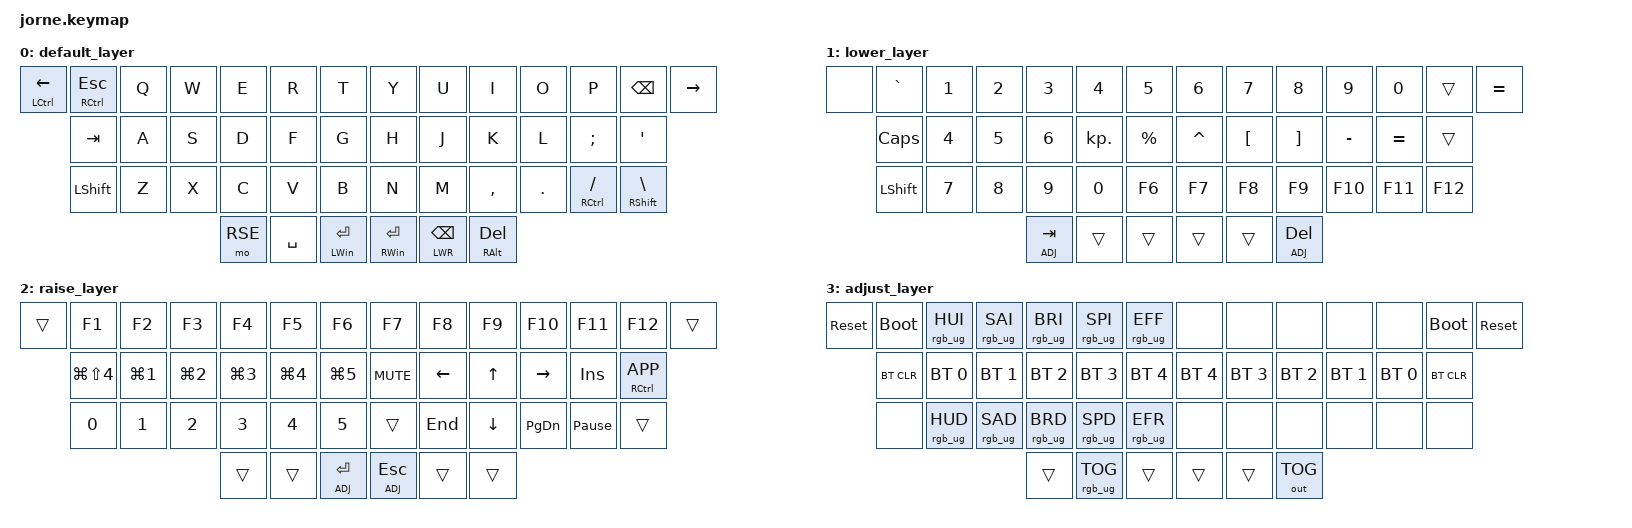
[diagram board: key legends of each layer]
/*
 * Copyright (c) 2020 The ZMK Contributors
 *
 * SPDX-License-Identifier: MIT
 */
#include <dt-bindings/led/led.h>
#include <behaviors.dtsi>
#include <dt-bindings/zmk/keys.h>
#include <dt-bindings/zmk/bt.h>
#include <dt-bindings/zmk/outputs.h>
#include <dt-bindings/zmk/rgb.h>


#define DEF 0
#define LWR 1
#define RSE 2
#define ADJ 3
&pinctrl {
        spi3_default: spi3_default {
                group1 {
                        psels = <NRF_PSEL(SPIM_MOSI, 1, 11)>;
                        };
                };

        spi3_sleep: spi3_sleep {
                group1 {
                        psels = <NRF_PSEL(SPIM_MOSI, 1, 11)>;
                        low-power-enable;
                };
        };
};

&spi3 {
  compatible = "nordic,nrf-spim";
  status = "okay";


  pinctrl-0 = <&spi3_default>;
  pinctrl-1 = <&spi3_sleep>;
  pinctrl-names = "default", "sleep";
  led_strip: ws2812@0 {
    compatible = "worldsemi,ws2812-spi";
    label = "WS2812";

    /* SPI */
    reg = <0>; /* ignored, but necessary for SPI bindings */
    spi-max-frequency = <4000000>;

    /* WS2812 */
    chain-length = <6>; /* number of LEDs */
    spi-one-frame = <0x70>;
    spi-zero-frame = <0x40>;
    color-mapping = <LED_COLOR_ID_GREEN
                          LED_COLOR_ID_RED
                          LED_COLOR_ID_BLUE>;
  };
};

/ {
    combos {
        compatible = "zmk,combos";

        combo_left {
            timeout-ms = <40>;
            key-positions = <16 17>;
            bindings = <&kp LEFT>;
        };

        right {
            bindings = <&kp RIGHT_ARROW>;
            key-positions = <17 18>;
            timeout-ms = <40>;
        };

        upup {
            bindings = <&kp UP_ARROW>;
            key-positions = <17 4>;
            timeout-ms = <40>;
        };

        downd {
            bindings = <&kp DOWN_ARROW>;
            key-positions = <17 29>;
            timeout-ms = <40>;
        };

        deldel {
            bindings = <&kp BACKSPACE>;
            key-positions = <15 14>;
            timeout-ms = <40>;
        };
    };
};

/ {
    chosen { zmk,underglow = &led_strip; };

    keymap {
        compatible = "zmk,keymap";

        default_layer {
            // -----------------------------------------------------------------------------------------
            // |  GUI |   ~  |  Q  |  W  |  E  |  R  |  T  |   |  Y  |  U   |  I  |  O  |  P  |  [   | GUI/] |
            //        | CTRL |  A  |  S  |  D  |  F  |  G  |   |  H  |  J   |  K  |  L  |  ;  |CTRL/'|
            //        | LALT |  Z  |  X  |  C  |  V  |  B  |   |  N  |  M   |  ,  |  .  |  /  | RALT |
            //                           | RSE | SPC | LWR |   | LWR | BKSP | RSE |

            bindings = <
&mt LCTRL LEFT  &mt RCTRL ESC  &kp Q  &kp W  &kp E    &kp R      &kp T         &kp Y         &kp U         &kp I         &kp O    &kp P           &kp BSPC        &kp RIGHT
                &kp TAB        &kp A  &kp S  &kp D    &kp F      &kp G         &kp H         &kp J         &kp K         &kp L    &kp SEMI        &kp SQT
                &kp LSHFT      &kp Z  &kp X  &kp C    &kp V      &kp B         &kp N         &kp M         &kp COMMA     &kp DOT  &mt RCTRL FSLH  &mt RSHFT BSLH
                                             &mo RSE  &kp SPACE  &mt LWIN RET  &mt RWIN RET  &lt LWR BSPC  &mt RALT DEL
            >;
        };

        lower_layer {
            // -----------------------------------------------------------------------------------------
            // |     |  ~  |  1  |  2  |  3  |  4  |  5  |   |  6  |  7  |  8  |  9  |  0  |  -_ |  =+ |
            //       | -_  |  4  |  5  |  6  |  .  |     |   |  ^  |  &  |  *  |  (  |  )  |  =+ |
            //       |  F1 |  7  |  8  |  9  |  0  |  F6 |   |  F7 |  F8 |  F9 | F10 | F11 | F12 |
            //                         | GUI |     | SPC |   | ENT |     | ALT |

            bindings = <
&none  &kp GRAVE   &kp N1  &kp N2  &kp N3       &kp N4      &kp N5     &kp N6     &kp N7    &kp N8       &kp N9     &kp N0     &trans   &kp EQUAL
       &kp CAPS    &kp N4  &kp N5  &kp N6       &kp KP_DOT  &kp PRCNT  &kp CARET  &kp LBKT  &kp RBKT     &kp MINUS  &kp EQUAL  &trans
       &kp LSHIFT  &kp N7  &kp N8  &kp N9       &kp N0      &kp F6     &kp F7     &kp F8    &kp F9       &kp F10    &kp F11    &kp F12
                                   &lt ADJ TAB  &trans      &trans     &trans     &trans    &lt ADJ DEL
            >;
        };

        raise_layer {
            // -----------------------------------------------------------------------------------------
            // |     |  F1  |  F2 |  F3 |  F4 |  F5 |  F6 |   |  F7 |  F8 |  F9 | F10 | F11 | F12 |     |
            //       | CTRL |  *  |  4  |  5  |  6  |  +  |   | MUT | LEFT|  UP | RGHT| INS | APP |
            //       |      |  0  |  1  |  2  |  3  |  .  |   | VOLD| END | DOWN| PGDN| PAUS|     |
            //                          |     |     | ADJ |   | ADJ |     |     |

            bindings = <
&trans  &kp F1          &kp F2      &kp F3      &kp F4      &kp F5      &kp F6       &kp F7       &kp F8    &kp F9    &kp F10    &kp F11          &kp F12          &trans
        &kp LG(LS(N4))  &kp LG(N1)  &kp LG(N2)  &kp LG(N3)  &kp LG(N4)  &kp LG(N5)   &kp C_MUTE   &kp LEFT  &kp UP    &kp RIGHT  &kp INS          &mt RCTRL K_APP
        &kp NUMBER_0    &kp N1      &kp N2      &kp N3      &kp N4      &kp N5       &trans       &kp END   &kp DOWN  &kp PG_DN  &kp PAUSE_BREAK  &trans
                                                &trans      &trans      &lt ADJ RET  &lt ADJ ESC  &trans    &trans
            >;
        };

        adjust_layer {
            // -----------------------------------------------------------------------------------------
            // | RST | BLDR | HI  | SI  | BI  | PI  | EF  |   |     |     |     |     |     | BLDR | RST |
            //       | BTCLR| BT0 | BT1 | BT2 | BT3 | BT4 |   | BT4 | BT3 | BT2 | BT1 | BT0 | BTCLR|
            //       |      | HD  | SD  | BD  | PD  | ER  |   |     |     |     |     |     |      |
            //                          |     | RGB |     |   |     |     | OUT |

            bindings = <
&sys_reset  &bootloader  &rgb_ug RGB_HUI  &rgb_ug RGB_SAI  &rgb_ug RGB_BRI  &rgb_ug RGB_SPI  &rgb_ug RGB_EFF  &none         &none         &none         &none         &none         &bootloader  &sys_reset
            &bt BT_CLR   &bt BT_SEL 0     &bt BT_SEL 1     &bt BT_SEL 2     &bt BT_SEL 3     &bt BT_SEL 4     &bt BT_SEL 4  &bt BT_SEL 3  &bt BT_SEL 2  &bt BT_SEL 1  &bt BT_SEL 0  &bt BT_CLR
            &none        &rgb_ug RGB_HUD  &rgb_ug RGB_SAD  &rgb_ug RGB_BRD  &rgb_ug RGB_SPD  &rgb_ug RGB_EFR  &none         &none         &none         &none         &none         &none
                                                           &trans           &rgb_ug RGB_TOG  &trans           &trans        &trans        &out OUT_TOG
            >;
        };
    };
};
